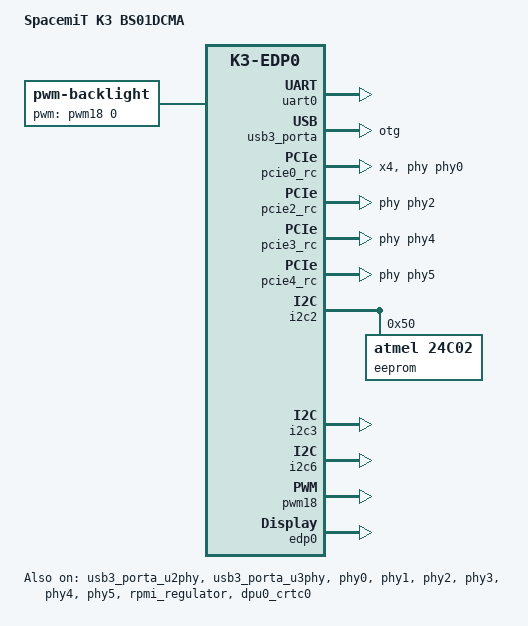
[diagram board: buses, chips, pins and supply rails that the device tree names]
// SPDX-License-Identifier: (GPL-2.0 OR MIT)
/* Copyright (c) 2025 Spacemit, Inc */

#include "k3.dtsi"
#include "k3-rdomain.dtsi"
#include "k3-pinctrl.dtsi"
#include "k3_opp_table.dtsi"
#include "k3-edp0.dtsi"

/ {
	model = "SpacemiT K3 BS01DCMA";
	compatible = "spacemit,k3-bs01dcma";
	cpus: cpus {
		#address-cells = <1>;
		#size-cells = <0>;
		timebase-frequency = <24000000>;
	};

/*
	p12v: p12v {
		compatible = "regulator-fixed";
		regulator-name = "p12v";
		regulator-always-on;
		regulator-boot-on;
		regulator-min-microvolt = <12000000>;
		regulator-max-microvolt = <12000000>;
		status = "disabled";
	};

	p5v: p5v {
		compatible = "regulator-fixed";
		regulator-name = "p5v";
		regulator-always-on;
		regulator-boot-on;
		regulator-min-microvolt = <5000000>;
		regulator-max-microvolt = <5000000>;
		vin-supply = <&p12v>;
		status = "disabled";
	};

	p4v: p4v {
		compatible = "regulator-fixed";
		regulator-name = "p4v";
		regulator-always-on;
		regulator-boot-on;
		regulator-min-microvolt = <4000000>;
		regulator-max-microvolt = <4000000>;
		vin-supply = <&p12v>;
		status = "disabled";
	};

	p1v8: p1v8 {
		compatible = "regulator-fixed";
		regulator-name = "p1v8";
		regulator-always-on;
		regulator-boot-on;
		regulator-min-microvolt = <1800000>;
		regulator-max-microvolt = <1800000>;
		vin-supply = <&p12v>;
		status = "disabled";
	};

	p3v3: p3v3 {
		compatible = "regulator-fixed";
		regulator-name = "p3v3";
		regulator-always-on;
		regulator-boot-on;
		regulator-min-microvolt = <3300000>;
		regulator-max-microvolt = <3300000>;
		vin-supply = <&p12v>;
		status = "disabled";
	};
*/
	chosen {
		bootargs = "earlycon=sbi console=ttyS0,115200 clk_ignore_unused loglevel=8 random.trust_bootloader=1 unaligned_scalar_speed=fast unaligned_vector_speed=fast";
		rng-seed = <0x25d69b2 0xff555073 0xd23238ea 0x57aa5455 0x792478ed 0xa744f28e 0x6ba4fc54 0xa2bf20fc>;
		stdout-path = "serial0:115200";
	};

	backlight: backlight {
		compatible = "pwm-backlight";
		pwms = <&pwm18 0 20000 0>;
		brightness-levels = <
			0   1   2   3   4   5   6   7
			8   9  10  11  12  13  14  15
			16  17  18  19  20  21  22  23
			24  25  26  27  28  29  30  31
			32  33  34  35  36  37  38  39
			40  41  42  43  44  45  46  47
			48  49  50  51  52  53  54  55
			56  57  58  59  60  61  62  63
			64  65  66  67  68  69  70  71
			72  73  74  75  76  77  78  79
			80  81  82  83  84  85  86  87
			88  89  90  91  92  93  94  95
			96  97  98  99 100 101 102 103
			104 105 106 107 108 109 110 111
			112 113 114 115 116 117 118 119
			120 121 122 123 124 125 126 127
			128 129 130 131 132 133 134 135
			136 137 138 139 140 141 142 143
			144 145 146 147 148 149 150 151
			152 153 154 155 156 157 158 159
			160 161 162 163 164 165 166 167
			168 169 170 171 172 173 174 175
			176 177 178 179 180 181 182 183
			184 185 186 187 188 189 190 191
			192 193 194 195 196 197 198 199
			200 201 202 203 204 205 206 207
			208 209 210 211 212 213 214 215
			216 217 218 219 220 221 222 223
			224 225 226 227 228 229 230 231
			232 233 234 235 236 237 238 239
			240 241 242 243 244 245 246 247
			248 249 250 251 252 253 254 255>;
		default-brightness-level = <128>;
		status = "okay";
	};
};

&resmem {
	/* global autoconfigured region for contiguous allocations */
	cmamem: linux,cma {
		compatible = "shared-dma-pool";
		reusable;
		size = <0 0x20000000>;
		alloc-ranges = <1 0x40000000 0 0x20000000>;
		linux,cma-default;
	};
};

&pinctrl {
	i2c0-2-cfg {
		i2c0-0-pins {
			power-source = <1800>;
		};
	};

	i2c1-1-cfg {
		i2c1-0-pins {
			power-source = <1800>;
		};
	};

	i2c2-1-cfg {
		i2c2-0-pins {
			power-source = <1800>;
		};
	};

	i2c3-3-cfg {
		i2c3-0-pins {
			power-source = <1800>;
		};
	};

	i2c6-0-cfg {
		i2c6-0-pins {
			power-source = <1800>;
		};
	};

	pcie0-1-cfg {
		pcie0-0-pins {
			bias-pull-up = <1>;		/* pull up */
			drive-strength = <38>;		/* DS15 */
			power-source = <3300>;
		};
	};

	pcie1-1-cfg {
		pcie1-0-pins {
			bias-pull-up;			/* pull up */
			drive-strength = <38>;		/* DS15 */
			power-source = <3300>;
		};
	};

	pcie2-1-cfg {
		pcie2-0-pins {
			bias-pull-up;			/* pull up  */
			drive-strength = <38>;		/* DS15 */
			power-source = <3300>;
		};
	};

	pcie4-1-cfg {
		pcie4-0-pins {
			bias-pull-up;			/* pull up */
			drive-strength = <38>;		/* DS15 */
			power-source = <3300>;
		};
	};

	pwm18_2_cfg: pwm18-2-cfg {
		pwm18-0-pins {
			pinmux = <K3_PADCONF(106, 6)>;	/* pwm18 */

			bias-pull-up;			/* normal pull-up */
			drive-strength = <25>;		/* DS8 */
			power-source = <3300>;
		};
	};

	dp0_1_cfg: dp0-1-cfg {
		dp0-0-pins {
			pinmux = <K3_PADCONF(23, 6)>;	/* dp0 hpd */

			bias-disable;			/* normal bias disable */
			drive-strength = <25>;		/* DS8 */
			power-source = <3300>;
		};
	};
};

&uart0 {
	pinctrl-names = "default";
	pinctrl-0 = <&uart0_0_cfg>;
	status = "okay";
};

&uart2 {
	pinctrl-names = "default";
	pinctrl-0 = <&uart2_0_cfg>;
	status = "disabled";

	bluetooth {
		compatible = "realtek,rtl8852bs-bt";
		device-wake-gpios = <&gpio 2 30 GPIO_ACTIVE_HIGH>;
		enable-gpios = <&gpio 2 29 GPIO_ACTIVE_HIGH>;
		host-wake-gpios = <&gpio 2 28 GPIO_ACTIVE_HIGH>;
	};
};

&qspi {
	status = "disabled";
};

&usb3_porta_u2phy {
	status = "okay";
};

&usb3_porta_u3phy {
	status = "okay";
};

&usb3_porta {
	dr_mode = "otg";
	/* Bringup stage, only enable USB2 phy */
	maximum-speed = "high-speed";
	usb-role-switch;
	role-switch-default-mode = "peripheral";
	status = "okay";
};

&phy0{
	status = "okay";
};

&phy1{
	status = "okay";
};

&phy2{
	status = "okay";
};

&phy3{
	status = "okay";
};

&phy4{
	status = "okay";
};

&phy5{
	status = "okay";
};

&pcie0_rc {
	pinctrl-names = "default";
	pinctrl-0 = <&pcie0_1_cfg>;
	phys = <&phy0>, <&phy1>;
	phy-names = "phy0", "phy1";

	num-lanes = <4>;
	status = "okay";
};

&pcie2_rc {
	pinctrl-names = "default";
	pinctrl-0 = <&pcie2_1_cfg>;
	phys = <&phy2>, <&phy3>;
	phy-names = "phy2", "phy3";

	status = "okay";
};

&pcie3_rc {
	phys = <&phy4>;
	phy-names = "phy4";

	status = "okay";
};

&pcie4_rc {
	pinctrl-names = "default";
	pinctrl-0 = <&pcie4_1_cfg>;
	phys = <&phy5>;
	phy-names = "phy5";

	status = "okay";
};

&thermal_zones {
	thermal_top {
		polling-delay = <1000>;
		polling-delay-passive = <250>;
		thermal-sensors = <&thermal 0>;

		trips {
			thermal_top_trip0: thermal_top-trip0 {
				temperature = <40000>;
				hysteresis = <5000>;
				type = "passive";
			};
		};
	};

	thermal_vpu {
		polling-delay = <1000>;
		polling-delay-passive = <250>;
		thermal-sensors = <&thermal 2>;

		trips {
			thermal_vpu_trip0: thermal_vpu-trip0 {
				temperature = <40000>;
				hysteresis = <5000>;
				type = "passive";
			};
		};
	};

	thermal_gpu {
		polling-delay = <1000>;
		polling-delay-passive = <250>;
		thermal-sensors = <&thermal 3>;

		trips {
			thermal_gpu_trip0: thermal_gpu-trip0 {
				temperature = <40000>;
				hysteresis = <5000>;
				type = "passive";
			};
		};
	};

	thermal_cluster0 {
		polling-delay = <1000>;
		polling-delay-passive = <250>;
		thermal-sensors = <&thermal 4>;

		trips {
			thermal_cluster0_trip0: thermal_cluster0-trip0 {
				temperature = <35000>;
				hysteresis = <5000>;
				type = "active";
			};
		};
	};

	thermal_cluster1 {
		polling-delay = <1000>;
		polling-delay-passive = <250>;
		thermal-sensors = <&thermal 5>;

		trips {
			thermal_cluster1_trip0: thermal_cluster1-trip0 {
				temperature = <85000>;
				hysteresis = <2000>;
				type = "active";
			};

			thermal_cluster1_trip1: thermal_cluster1-trip1 {
				temperature = <95000>;
				hysteresis = <2000>;
				type = "passive";
			};

			thermal_cluster1_trip2: thermal_cluster1-trip2 {
				temperature = <105000>;
				hysteresis = <2000>;
				type = "passive";
			};

			thermal_cluster1_trip3: thermal_cluster1-trip3 {
				temperature = <115000>;
				hysteresis = <2000>;
				type = "critical";
			};
		};

		cooling-maps {
			map0 {
				trip = <&thermal_cluster1_trip0>;
				cooling-device = <&cpu_0 2 2>,
						<&cpu_1 2 2>,
						<&cpu_2 2 2>,
						<&cpu_3 2 2>,
						<&cpu_4 2 2>,
						<&cpu_5 2 2>,
						<&cpu_6 2 2>,
						<&cpu_7 2 2>;
			};

			map1 {
				trip = <&thermal_cluster1_trip1>;
				cooling-device = <&cpu_0 3 5>,
						<&cpu_1 3 5>,
						<&cpu_2 3 5>,
						<&cpu_3 3 5>,
						<&cpu_4 3 5>,
						<&cpu_5 3 5>,
						<&cpu_6 3 5>,
						<&cpu_7 3 5>;
			};

			map2 {
				trip = <&thermal_cluster1_trip2>;
				cooling-device = <&cpu_0 6 8>,
						<&cpu_1 6 8>,
						<&cpu_2 6 8>,
						<&cpu_3 6 8>,
						<&cpu_4 6 8>,
						<&cpu_5 6 8>,
						<&cpu_6 6 8>,
						<&cpu_7 6 8>;
			};
		};
	};

	thermal_cluster2 {
		polling-delay = <1000>;
		polling-delay-passive = <250>;
		thermal-sensors = <&thermal 6>;

		trips {
			thermal_cluster2_trip0: thermal_cluster2-trip0 {
				temperature = <85000>;
				hysteresis = <2000>;
				type = "active";
			};

			thermal_cluster2_trip1: thermal_cluster2-trip1 {
				temperature = <95000>;
				hysteresis = <2000>;
				type = "passive";
			};

			thermal_cluster2_trip2: thermal_cluster2-trip2 {
				temperature = <105000>;
				hysteresis = <2000>;
				type = "passive";
			};

			thermal_cluster2_trip3: thermal_cluster2-trip3 {
				temperature = <115000>;
				hysteresis = <2000>;
				type = "critical";
			};
		};

		cooling-maps {
			map0 {
				trip = <&thermal_cluster2_trip0>;
				cooling-device = <&cpu_8 3 3>,
						<&cpu_9 3 3>,
						<&cpu_10 3 3>,
						<&cpu_11 3 3>,
						<&cpu_12 3 3>,
						<&cpu_13 3 3>,
						<&cpu_14 3 3>,
						<&cpu_15 3 3>;
			};

			map1 {
				trip = <&thermal_cluster2_trip1>;
				cooling-device = <&cpu_8 4 5>,
						<&cpu_9 4 5>,
						<&cpu_10 4 5>,
						<&cpu_11 4 5>,
						<&cpu_12 4 5>,
						<&cpu_13 4 5>,
						<&cpu_14 4 5>,
						<&cpu_15 4 5>;
			};

			map2 {
				trip = <&thermal_cluster2_trip2>;
				cooling-device = <&cpu_8 6 8>,
						<&cpu_9 6 8>,
						<&cpu_10 6 8>,
						<&cpu_11 6 8>,
						<&cpu_12 6 8>,
						<&cpu_13 6 8>,
						<&cpu_14 6 8>,
						<&cpu_15 6 8>;
			};
		};
	};

	thermal_cluster3 {
		polling-delay = <1000>;
		polling-delay-passive = <250>;
		thermal-sensors = <&thermal 7>;

		trips {
			thermal_cluster7_trip0: thermal_cluster7-trip0 {
				temperature = <40000>;
				hysteresis = <5000>;
				type = "passive";
			};
		};
	};
};

&rpmi_regulator {
	status = "okay";
	pinctrl-names = "default";
	pinctrl-0 = <&i2c8_cfg_rcpu>;

	pvin: pvin {
		regulator-min-microvolt = <5000000>;
		regulator-max-microvolt = <5000000>;
		regulator-always-on;
		regulator-boot-on;
	};

	adcdc2: adcdc2 {
		regulator-min-microvolt = <540000>;
		regulator-max-microvolt = <1000000>;
		regulator-always-on;
		regulator-boot-on;
	};

	adcdc1: adcdc1 {
		regulator-min-microvolt = <540000>;
		regulator-max-microvolt = <1000000>;
		regulator-always-on;
		regulator-boot-on;
	};

	p3v3: p3v3 {
		regulator-min-microvolt = <3300000>;
		regulator-max-microvolt = <3300000>;
		regulator-always-on;
		regulator-boot-on;
	};

	p1v8: p1v8 {
		regulator-min-microvolt = <1800000>;
		regulator-max-microvolt = <1800000>;
		regulator-always-on;
		regulator-boot-on;
	};

	dcdc1: dcdc1 {
		regulator-min-microvolt = <1050000>;
		regulator-max-microvolt = <1050000>;
		regulator-always-on;
		regulator-boot-on;
	};

	dcdc3: dcdc3 {
		regulator-min-microvolt = <800000>;
		regulator-max-microvolt = <800000>;
		regulator-always-on;
		regulator-boot-on;
	};

	dcdc4: dcdc4 {
		regulator-min-microvolt = <2100000>;
		regulator-max-microvolt = <2100000>;
		regulator-always-on;
		regulator-boot-on;
	};

	dcdc5: dcdc5 {
		regulator-min-microvolt = <1800000>;
		regulator-max-microvolt = <1800000>;
		regulator-always-on;
		regulator-boot-on;
	};

	dcdc6: dcdc6 {
		regulator-min-microvolt = <500000>;
		regulator-max-microvolt = <600000>;
		regulator-always-on;
		regulator-boot-on;
	};

	aldo1: aldo1 {
		regulator-min-microvolt = <1800000>;
		regulator-max-microvolt = <3300000>;
		regulator-always-on;
		regulator-boot-on;
	};

	aldo2: aldo2 {
		regulator-min-microvolt = <1800000>;
		regulator-max-microvolt = <1800000>;
		regulator-always-on;
		regulator-boot-on;
	};

	aldo3: aldo3 {
		regulator-min-microvolt = <500000>;
		regulator-max-microvolt = <3400000>;
	};

	aldo4: aldo4 {
		regulator-min-microvolt = <3300000>;
		regulator-max-microvolt = <3300000>;
		regulator-always-on;
		regulator-boot-on;
	};

	dldo1: dldo1 {
		regulator-min-microvolt = <1200000>;
		regulator-max-microvolt = <1200000>;
		regulator-always-on;
		regulator-boot-on;
	};

	dldo2: dldo2 {
		regulator-min-microvolt = <900000>;
		regulator-max-microvolt = <900000>;
		regulator-always-on;
		regulator-boot-on;
	};

	dldo3: dldo3 {
		regulator-min-microvolt = <800000>;
		regulator-max-microvolt = <800000>;
		regulator-always-on;
		regulator-boot-on;
	};

	dldo4: dldo4 {
		regulator-min-microvolt = <1800000>;
		regulator-max-microvolt = <1800000>;
		regulator-always-on;
		regulator-boot-on;
	};

	dldo5: dldo5 {
		regulator-min-microvolt = <1800000>;
		regulator-max-microvolt = <1800000>;
		regulator-always-on;
		regulator-boot-on;
	};

	dldo6: dldo6 {
		regulator-min-microvolt = <1800000>;
		regulator-max-microvolt = <1800000>;
		regulator-always-on;
		regulator-boot-on;
	};

	dldo7: dldo7 {
		regulator-min-microvolt = <1800000>;
		regulator-max-microvolt = <1800000>;
		regulator-always-on;
		regulator-boot-on;
	};

	pwr_x100: pwr_x100 {
		regulator-min-microvolt = <3300000>;
		regulator-max-microvolt = <3300000>;
		regulator-always-on;
		regulator-boot-on;
	};

	pwr_a100: pwr_a100 {
		regulator-min-microvolt = <3300000>;
		regulator-max-microvolt = <3300000>;
		regulator-always-on;
		regulator-boot-on;
	};

	pwr_ext: pwr_ext {
		regulator-min-microvolt = <3300000>;
		regulator-max-microvolt = <3300000>;
		regulator-always-on;
		regulator-boot-on;
	};
};

&i2c2 {
	pinctrl-names = "default";
	pinctrl-0 = <&i2c2_1_cfg>;
	status = "okay";

	eeprom@50 {
		compatible = "atmel,24c02";
		reg = <0x50>;
		read-only;
		status = "okay";

		nvmem-layout {
			compatible = "onie,tlv-layout";

			product_name: product-name {
			};
		};
	};
};

&i2c3 {
	pinctrl-names = "default";
	pinctrl-0 = <&i2c3_3_cfg>;
	status = "okay";
};

&i2c6 {
	pinctrl-names = "default";
	pinctrl-0 = <&i2c6_0_cfg>;
	status = "okay";
};

/*
&i2c8 {
	pinctrl-names = "default";
	pinctrl-0 = <&i2c8_cfg>;
	status = "disabled";

	p1@41 {
		compatible = "spacemit,p1";
		reg = <0x41>;
		status = "disabled";

		vcc-supply = <&p4v>;

		regulators {
			compatible = "spacemit-p1-regulator";

			buck1: buck1 {
				regulator-min-microvolt = <1050000>;
				regulator-max-microvolt = <1050000>;
				regulator-ramp-delay = <5000>;
				regulator-always-on;
				regulator-boot-on;
			};

			buck2: buck2 {
				regulator-min-microvolt = <1050000>;
				regulator-max-microvolt = <1050000>;
				regulator-ramp-delay = <5000>;
				regulator-always-on;
				regulator-boot-on;
			};

			buck3: buck3 {
				regulator-min-microvolt = <800000>;
				regulator-max-microvolt = <800000>;
				regulator-ramp-delay = <5000>;
				regulator-always-on;
				regulator-boot-on;
			};

			buck4: buck4 {
				regulator-min-microvolt = <2100000>;
				regulator-max-microvolt = <2100000>;
				regulator-ramp-delay = <5000>;
				regulator-always-on;
				regulator-boot-on;
			};

			buck5: buck5 {
				regulator-min-microvolt = <1800000>;
				regulator-max-microvolt = <1800000>;
				regulator-ramp-delay = <5000>;
				regulator-always-on;
				regulator-boot-on;
			};

			buck6: buck6 {
				regulator-min-microvolt = <500000>;
				regulator-max-microvolt = <500000>;
				regulator-ramp-delay = <5000>;
				regulator-always-on;
				regulator-boot-on;
			};

			aldo1: aldo1 {
				regulator-min-microvolt = <1800000>;
				regulator-max-microvolt = <3300000>;
				regulator-always-on;
				regulator-boot-on;
			};

			aldo2: aldo2 {
				regulator-min-microvolt = <1800000>;
				regulator-max-microvolt = <1800000>;
				regulator-always-on;
				regulator-boot-on;
			};

			aldo3: aldo3 {
				regulator-min-microvolt = <500000>;
				regulator-max-microvolt = <3400000>;
			};

			aldo4: aldo4 {
				regulator-min-microvolt = <3300000>;
				regulator-max-microvolt = <3300000>;
				regulator-always-on;
				regulator-boot-on;
			};

			dldo1: dldo1 {
				regulator-min-microvolt = <1200000>;
				regulator-max-microvolt = <1200000>;
				regulator-always-on;
				regulator-boot-on;
			};

			dldo2: dldo2 {
				regulator-min-microvolt = <900000>;
				regulator-max-microvolt = <900000>;
				regulator-always-on;
				regulator-boot-on;
			};

			dldo3: dldo3 {
				regulator-min-microvolt = <800000>;
				regulator-max-microvolt = <800000>;
				regulator-always-on;
				regulator-boot-on;
			};

			dldo4: dldo4 {
				regulator-min-microvolt = <1800000>;
				regulator-max-microvolt = <1800000>;
				regulator-always-on;
				regulator-boot-on;
			};

			dldo5: dldo5 {
				regulator-min-microvolt = <1800000>;
				regulator-max-microvolt = <1800000>;
				regulator-always-on;
				regulator-boot-on;
			};

			dldo6: dldo6 {
				regulator-min-microvolt = <1800000>;
				regulator-max-microvolt = <1800000>;
				regulator-always-on;
				regulator-boot-on;
			};

			dldo7: dldo7 {
				regulator-min-microvolt = <1800000>;
				regulator-max-microvolt = <1800000>;
				regulator-always-on;
				regulator-boot-on;
			};
		};
	};
};
*/

&pwm18 {
	status = "okay";
};

&dpu0_crtc0 {
	memory-region = <&dpu_resv0>;
	status = "okay";
};

&edp0 {
	pinctrl-names = "default";
	pinctrl-0 = <&dp0_1_cfg>;
	backlight = <&backlight>;
	gpios-power = <101>;
	gpios-enable = <118>;
	status = "okay";
};

&cpu_0 {
	clst-supply = <&adcdc1>;
};

&cpu_1 {
	clst-supply = <&adcdc1>;
};

&cpu_2 {
	clst-supply = <&adcdc1>;
};

&cpu_3 {
	clst-supply = <&adcdc1>;
};

&cpu_4 {
	clst-supply = <&adcdc1>;
};

&cpu_5 {
	clst-supply = <&adcdc1>;
};

&cpu_6 {
	clst-supply = <&adcdc1>;
};

&cpu_7 {
	clst-supply = <&adcdc1>;
};
